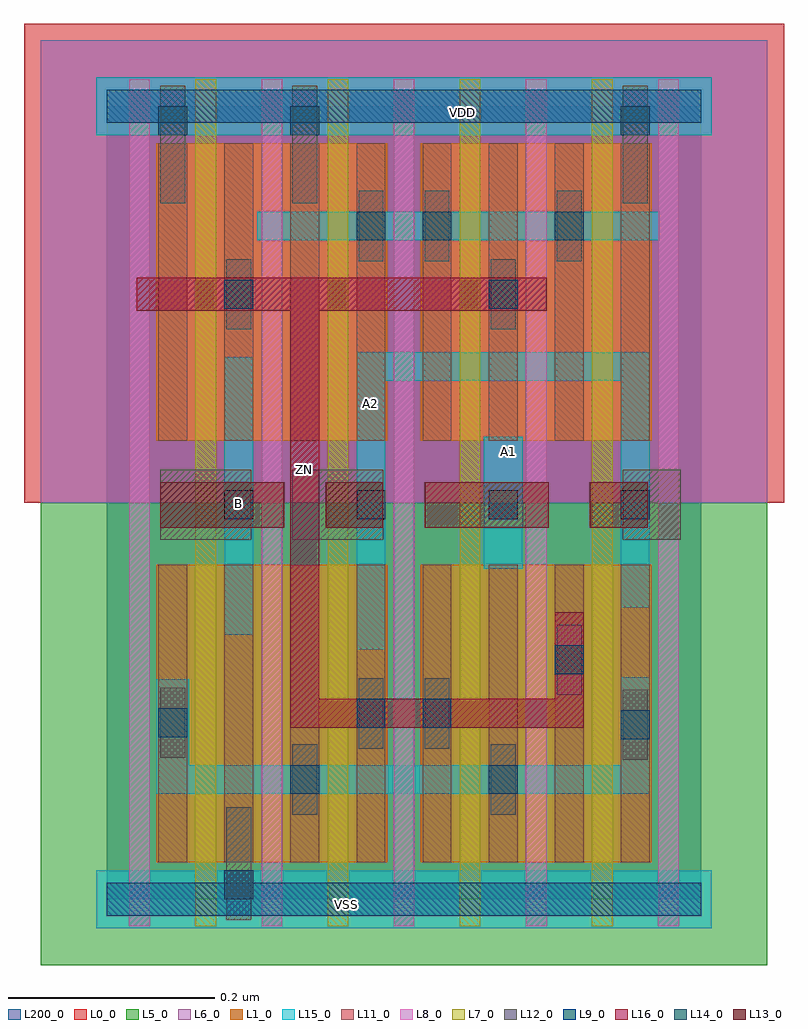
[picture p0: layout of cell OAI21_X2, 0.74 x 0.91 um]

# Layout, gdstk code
import gdstk
lib = gdstk.Library(unit=1e-6, precision=1e-09)
def R(c, l, rs):  # rectangles x0, y0, x1, y1
    for r in rs: c.add(gdstk.rectangle(r[:2], r[2:], *l))
def A(c, l, x, y, w, h, nx, ny, dx, dy):  # array of equal rectangles
    R(c, l, [(x+i*dx, y+j*dy, x+i*dx+w, y+j*dy+h) for i in range(nx) for j in range(ny)])
def P(c, l, *ps):  # polygons
    for p in ps: c.add(gdstk.Polygon(p, *l))
L0_0 = (0, 0)
L1_0 = (1, 0)
L5_0 = (5, 0)
L6_0 = (6, 0)
L7_0 = (7, 0)
L8_0 = (8, 0)
L9_0 = (9, 0)
L11_0 = (11, 0)
L12_0 = (12, 0)
L13_0 = (13, 0)
L14_0 = (14, 0)
L15_0 = (15, 0)
L16_0 = (16, 0)
L200_0 = (200, 0)

oai21_x2 = lib.new_cell('OAI21_X2')
R(oai21_x2, L0_0, [(-0.08,0.384,0.656,0.848)])
R(oai21_x2, L1_0, [(0.048,0.036,0.272,0.324), (0.304,0.036,0.528,0.324), (0.048,0.444,0.272,0.732), (0.304,0.444,0.528,0.732)])
R(oai21_x2, L5_0, [(-0.064,-0.064,0.64,0.384)])
R(oai21_x2, L6_0, [(-0.064,0.384,0.64,0.832)])
A(oai21_x2, L7_0, 0.086, -0.026, 0.02, 0.82, 4, 1, 0.128, 0)
A(oai21_x2, L8_0, 0.022, -0.026, 0.02, 0.82, 5, 1, 0.128, 0)
R(oai21_x2, L9_0, [(0,-0.016,0.576,0.016), (0,0.752,0.576,0.784)])
A(oai21_x2, L11_0, 0.05, 0.036, 0.028, 0.288, 8, 2, 0.064, 0.408)
R(oai21_x2, L12_0, [(0.116,-0.02,0.14,0.089), (0.18,0.082,0.204,0.15), (0.372,0.082,0.396,0.15), (0.5,0.135,0.524,0.203), (0.052,0.137,0.076,0.205), (0.244,0.146,0.268,0.214), (0.308,0.146,0.332,0.214), (0.436,0.198,0.46,0.266), (0.052,0.348,0.14,0.416), (0.18,0.348,0.268,0.416), (0.5,0.348,0.556,0.416), (0.116,0.552,0.14,0.62), (0.372,0.552,0.396,0.62), (0.244,0.618,0.268,0.686), (0.308,0.618,0.332,0.686), (0.436,0.618,0.46,0.686), (0.052,0.674,0.076,0.788), (0.18,0.674,0.204,0.788), (0.5,0.674,0.524,0.788)])
R(oai21_x2, L13_0, [(0.052,0.36,0.172,0.404), (0.212,0.36,0.268,0.404), (0.308,0.36,0.428,0.404), (0.468,0.36,0.524,0.404)])
A(oai21_x2, L14_0, 0.114, 0.368, 0.028, 0.028, 4, 1, 0.128, 0)
R(oai21_x2, L14_0, [(0.114,0,0.142,0.028), (0.178,0.102,0.206,0.13), (0.37,0.102,0.398,0.13), (0.498,0.155,0.526,0.183), (0.05,0.157,0.078,0.185), (0.242,0.166,0.27,0.194), (0.306,0.166,0.334,0.194), (0.434,0.218,0.462,0.246), (0.114,0.572,0.142,0.6), (0.37,0.572,0.398,0.6), (0.242,0.638,0.27,0.666), (0.306,0.638,0.334,0.666), (0.434,0.638,0.462,0.666), (0.05,0.74,0.078,0.768), (0.178,0.74,0.206,0.768), (0.498,0.74,0.526,0.768)])
R(oai21_x2, L15_0, [(-0.01,-0.028,0.586,0.028), (0.114,0.256,0.142,0.525), (0.365,0.32,0.403,0.448), (0.146,0.638,0.535,0.666), (-0.01,0.74,0.586,0.796)])
P(oai21_x2, L15_0, [(0.048,0.102),(0.526,0.102),(0.526,0.215),(0.498,0.215),(0.498,0.13),(0.08,0.13),(0.08,0.213),(0.048,0.213)],
  [(0.242,0.242),(0.27,0.242),(0.27,0.502),(0.498,0.502),(0.498,0.283),(0.526,0.283),(0.526,0.53),(0.242,0.53)])
P(oai21_x2, L16_0, [(0.029,0.57),(0.178,0.57),(0.178,0.166),(0.462,0.166),(0.462,0.278),(0.434,0.278),(0.434,0.194),(0.206,0.194),(0.206,0.57),(0.426,0.57),(0.426,0.602),(0.029,0.602)])
R(oai21_x2, L200_0, [(0,0,0.576,0.768)])
oai21_x2.add(gdstk.Label('VSS', (0.232,-0.005), layer=15, texttype=20))
oai21_x2.add(gdstk.Label('B', (0.128,0.383), layer=15, texttype=20))
oai21_x2.add(gdstk.Label('A2', (0.256,0.48), layer=15, texttype=20))
oai21_x2.add(gdstk.Label('A1', (0.389,0.434), layer=15, texttype=20))
oai21_x2.add(gdstk.Label('VDD', (0.345,0.762), layer=15, texttype=20))
oai21_x2.add(gdstk.Label('ZN', (0.192,0.416), layer=16, texttype=20))

lib.write_gds('OAI21_X2.gds')
